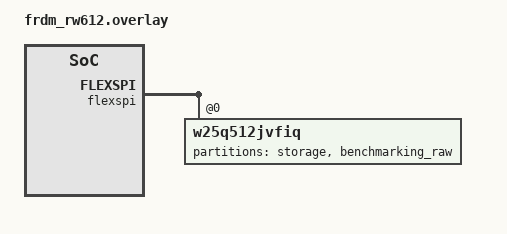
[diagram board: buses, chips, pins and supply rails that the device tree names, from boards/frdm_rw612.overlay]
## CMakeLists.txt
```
# Copyright (c) 2026 Qualcomm Technologies, Inc. and/or its subsidiaries
# SPDX-License-Identifier: BSD-3-Clause

cmake_minimum_required(VERSION 3.20.0)
find_package(Zephyr REQUIRED HINTS $ENV{ZEPHYR_BASE})
project(benchi)

if(CMAKE_C_COMPILER_ID STREQUAL "GNU")
    zephyr_compile_options(
        -Wno-implicit-function-declaration
        -Wno-stringop-truncation
    )
endif()

############################################
# extra modules
############################################

set(ZEPHYR_EXTRA_MODULES $ENV{ZEPHYR_BASE}/../iot_aleph/modules/googletest)


############################################
# cmake helper functions
############################################

macro(zephyr_object_library_named name)
    # This is a macro because we need add_library() to be executed
    # within the scope of the caller.
    set(ZEPHYR_CURRENT_LIBRARY ${name})
    add_library(${name} OBJECT "")
    zephyr_append_cmake_library(${name})
    target_link_libraries(${name} PUBLIC zephyr_interface)
endmacro()


############################################
# general include folder
############################################

zephyr_interface_library_named(${PROJECT_NAME}.include)
target_include_directories(${PROJECT_NAME}.include INTERFACE
        include
)
target_link_libraries(zephyr_interface INTERFACE ${PROJECT_NAME}.include)

############################################
# jsmn - minimal json
############################################

zephyr_interface_library_named(${PROJECT_NAME}.jsmn)
target_include_directories(${PROJECT_NAME}.jsmn INTERFACE
        include/jsmn
)

############################################
# threads
############################################
zephyr_library_named(${PROJECT_NAME}.threads)
target_sources(${PROJECT_NAME}.threads PRIVATE
        src/threads/bshg_threads.c
        src/threads/thread.app.c
        src/threads/thread.domain.c
        src/threads/thread.ll.c
)
target_include_directories(${PROJECT_NAME}.threads PUBLIC
        src/threads/
)
target_link_libraries(${PROJECT_NAME}.threads PUBLIC
    ${PROJECT_NAME}.messages
    ${PROJECT_NAME}.zbus
    ${PROJECT_NAME}.spi
    ${PROJECT_NAME}.jsmn
    ${PROJECT_NAME}.stress
    ${PROJECT_NAME}.tracing
)

############################################
# download
############################################
zephyr_library_named(${PROJECT_NAME}.download)
target_sources(${PROJECT_NAME}.download PRIVATE
        src/download/bshg_download.c
)
target_include_directories(${PROJECT_NAME}.download PUBLIC
        src/download
)
target_link_libraries(${PROJECT_NAME}.download PUBLIC
        ${PROJECT_NAME}.jsmn
        ${PROJECT_NAME}.flash
)

############################################
# zbus
############################################
zephyr_library_named(${PROJECT_NAME}.zbus.helper)
target_sources(${PROJECT_NAME}.zbus.helper PRIVATE
        src/zbus/helper/bshg_zbus_helper.c
)
target_include_directories(${PROJECT_NAME}.zbus.helper PUBLIC
        src/zbus/helper/
)

zephyr_library_named(${PROJECT_NAME}.zbus.trigger)
target_sources(${PROJECT_NAME}.zbus.trigger PRIVATE
        src/zbus/bshg_zbus_messages.c
)
target_include_directories(${PROJECT_NAME}.zbus.trigger PUBLIC
        src/zbus/trigger/
)
target_link_libraries(${PROJECT_NAME}.zbus.trigger PUBLIC
        ${PROJECT_NAME}.zbus.helper
        ${PROJECT_NAME}.tracing
)

add_library(${PROJECT_NAME}.zbus INTERFACE)
target_link_libraries(${PROJECT_NAME}.zbus INTERFACE
        ${PROJECT_NAME}.zbus.helper
        ${PROJECT_NAME}.zbus.trigger
)

############################################
# webserver
############################################
zephyr_library_named(${PROJECT_NAME}.webserver)
foreach(web_resource     index.html main.js)
    generate_inc_file_for_target(${PROJECT_NAME}.webserver
            src/webserver/static_web_resources/${web_resource}
            ${CMAKE_CURRENT_BINARY_DIR}/include/generated/${web_resource}.gz.inc
            --gzip
    )
endforeach()

foreach(inc_file server_cert.der server_privkey.der)
    generate_inc_file_for_target(
            ${PROJECT_NAME}.webserver
            src/webserver/certs/${inc_file}
            ${CMAKE_CURRENT_BINARY_DIR}/include/generated/${inc_file}.inc
    )
endforeach()

target_sources(${PROJECT_NAME}.webserver PRIVATE
    src/webserver/webserver.c
    src/webserver/ws.c
)
target_include_directories(${PROJECT_NAME}.webserver PUBLIC
    certs
    ${CMAKE_CURRENT_BINARY_DIR}/include/generated/
)
target_link_libraries(${PROJECT_NAME}.webserver PRIVATE
    zephyr_interface
    zephyr
    ${PROJECT_NAME}.zbus.helper
    ${PROJECT_NAME}.tracing
)

zephyr_linker_sources(SECTIONS sections-rom.ld)
zephyr_linker_section(
    NAME http_resource_desc_test_https_service
    KVMA RAM_REGION GROUP RODATA_REGION
    SUBALIGN ${CONFIG_LINKER_ITERABLE_SUBALIGN})
zephyr_linker_section(
    NAME http_resource_desc_test_http_service
    KVMA RAM_REGION GROUP RODATA_REGION
    SUBALIGN ${CONFIG_LINKER_ITERABLE_SUBALIGN})

############################################
# messages
############################################
zephyr_library_named(${PROJECT_NAME}.messages)
target_sources(${PROJECT_NAME}.messages PRIVATE
        src/messages/ll/download.c
        src/messages/ll/file.c
        src/messages/ll/led.c
        src/messages/ll/spi.c
        src/messages/ll/tracing.c
        src/messages/calculate_hashsum.c
        src/messages/ping.c
        src/messages/wait.c
        src/messages/zbus.c
)
target_link_libraries(${PROJECT_NAME}.messages PUBLIC
        ${PROJECT_NAME}.jsmn
        ${PROJECT_NAME}.zbus
        ${PROJECT_NAME}.spi
        ${PROJECT_NAME}.flash
        ${PROJECT_NAME}.tracing
        ${PROJECT_NAME}.download
        mbedTLS
)

############################################
# messages
############################################
zephyr_library_named(${PROJECT_NAME}.flash)
target_sources(${PROJECT_NAME}.flash PRIVATE
        src/flash/filesystem.c
        src/flash/rawflash.c
)
target_link_libraries(${PROJECT_NAME}.flash PUBLIC
        ${PROJECT_NAME}.jsmn
        ${PROJECT_NAME}.tracing
        ${PROJECT_NAME}.download
        LITTLEFS
)

############################################
# spi
############################################
zephyr_library_named(${PROJECT_NAME}.spi)
target_sources(${PROJECT_NAME}.spi PRIVATE
        src/spi/bshg_spi.c
)
target_include_directories(${PROJECT_NAME}.spi PUBLIC
        src/spi/
)
zephyr_library_add_dependencies(offsets_h)
############################################
# stress
############################################
zephyr_library_named(${PROJECT_NAME}.stress)
target_sources(${PROJECT_NAME}.stress PRIVATE
        src/stress/stress.c
)
target_include_directories(${PROJECT_NAME}.stress PUBLIC
        src/stress/
)
target_link_libraries(${PROJECT_NAME}.stress PUBLIC
        ${PROJECT_NAME}.tracing
)

############################################
# tracing
############################################
zephyr_library_named(${PROJECT_NAME}.tracing)
target_sources(${PROJECT_NAME}.tracing PRIVATE
        src/tracing/BSHG_tracing.c
)
target_include_directories(${PROJECT_NAME}.tracing PUBLIC
        src/tracing/
)

############################################
# test
############################################
if(CONFIG_ZTEST)
    zephyr_object_library_named(${PROJECT_NAME}.test)

    file(GLOB_RECURSE test_sources test/*.cpp)
    target_sources(${PROJECT_NAME}.test PRIVATE
        test/threads/thread_app.json.c
        test/threads/thread_domain.json.c
        test/threads/thread_ll.json.c
    )
    target_link_libraries(${PROJECT_NAME}.test PRIVATE
            ${PROJECT_NAME}.spi
            ${PROJECT_NAME}.threads
            ${PROJECT_NAME}.zbus
            ${PROJECT_NAME}.jsmn
    )
    target_link_libraries(app PRIVATE
            ${PROJECT_NAME}.test
    )
endif()
############################################
# app (main)
############################################
target_sources(app PRIVATE
    src/main.c
    src/shell/shell.c # TODO: why does it only work when directly added to app?
)

target_link_libraries(app PRIVATE
        ${PROJECT_NAME}.threads
        ${PROJECT_NAME}.webserver
        ${PROJECT_NAME}.zbus
        ${PROJECT_NAME}.stress
        ${PROJECT_NAME}.tracing
)

foreach(_lib
        ${PROJECT_NAME}.threads
        ${PROJECT_NAME}.download
        ${PROJECT_NAME}.zbus.helper
        ${PROJECT_NAME}.zbus.trigger
        ${PROJECT_NAME}.webserver
        ${PROJECT_NAME}.messages
        ${PROJECT_NAME}.flash
        ${PROJECT_NAME}.spi
        ${PROJECT_NAME}.stress
        ${PROJECT_NAME}.tracing)
    if(TARGET ${_lib})
        add_dependencies(${_lib} heap_constants offsets_h)
    endif()
endforeach()
```

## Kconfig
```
# Config options for logger sample app

# Copyright (c) 2018 Nordic Semiconductor ASA
# SPDX-License-Identifier: Apache-2.0

mainmenu "Shell module sample application"

menu "Application configuration"

config SHELL_FOREGROUND_CMDS
	bool "Shell foreground commands example"
	default y

config SHELL_DYNAMIC_CMDS
	bool "Shell dynamic commands example"
	default y

endmenu










# HTTP SAMPLE

config NET_SAMPLE_HTTP_SERVICE
	bool "Enable http service"
	default y

config NET_SAMPLE_HTTP_SERVER_SERVICE_PORT
	int "Port number for http service"
	default 80





# HTTPS SAMPLE

config NET_SOCKETS_SOCKOPT_TLS
	bool "Enable TLS"
	default y

config NET_SAMPLE_HTTPS_SERVICE
	bool "Enable https service"
	default y

config NET_SAMPLE_HTTPS_SERVER_SERVICE_PORT
	int "Port number for https service"
	default 443


# WEBSOCKET SAMPLE

config NET_SAMPLE_WEBSOCKET_SERVICE
	bool "Enable websocket sample"
	default y

config NET_SAMPLE_WEBSOCKET_STATS_INTERVAL
	int "Interval in milliseconds to send network stats over websocket"
	default 200

config NET_SAMPLE_NUM_WEBSOCKET_HANDLERS
	int "How many websocket connections to serve at the same time"
	default 1

config POLL
    bool "Enable polling"
    default y

config NET_STATISTICS_USER_API
    bool ""
    default y


# OTHERS

config CONFIG_USB_DEVICE_STACK
    bool "Enable USB stack"
    default n

config NET_SAMPLE_HTTPS_USE_ALPN
	bool "Allow HTTP2 connectivity with web browsers by using ALPN"
	default y

config NET_SAMPLE_PSK_HEADER_FILE
	string "Header file containing PSK"
	default "dummy_psk.h"

config IMG_BLOCK_BUF_SIZE
	int "Image Block Buffer Size"
	default 512

config BSHG_IFP_PARALLEL_FLASHING
	bool "Enable download and flashing in parallel"
	default y	

config TRACING_BUFFER_SIZE
        int "Size of tracing buffer"
        default 2048 if TRACING_ASYNC
        default TRACING_PACKET_MAX_SIZE if TRACING_SYNC
        range 32 131072








source "Kconfig.zephyr"
```

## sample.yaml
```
# Copyright (c) 2026 Qualcomm Technologies, Inc. and/or its subsidiaries
# SPDX-License-Identifier: BSD-3-Clause

tests:
  qcc7xx.sample.benchi:
    platform_allow:
      - qcc744m_evk
      - qcc748m_evk
    tags:
      - net
      - wifi
      - benchi
    timeout: 60
    harness: console
    harness_config:
      type: multi_line
      ordered: true
      regex:
        - "Booting Zephyr OS"
        - "LittleFS version"
        - "uart:~\\$"

  qcc7xx.sample.benchi.build:
    build_only: true
    platform_allow:
      - qcc75xm_evk
    tags:
      - net
      - wifi
      - benchi
```

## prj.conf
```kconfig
# general
CONFIG_EARLY_CONSOLE=y
CONFIG_INIT_STACKS=y
CONFIG_MAIN_STACK_SIZE=5200
CONFIG_POSIX_API=y
CONFIG_EVENTFD=y
CONFIG_ZVFS_FDTABLE=y
CONFIG_POSIX_TIMERS=y
CONFIG_PRINTK=y
CONFIG_THREAD_MONITOR=y
CONFIG_THREAD_STACK_INFO=y
CONFIG_COMPILER_COLOR_DIAGNOSTICS=y
CONFIG_NO_OPTIMIZATIONS=y

# CTF tracing
CONFIG_THREAD_NAME=y
CONFIG_TRACING=y
CONFIG_TRACING_CTF=y
CONFIG_TRACING_BACKEND_RAM=y
CONFIG_RAM_TRACING_BUFFER_SIZE=131072
CONFIG_TRACING_BUFFER_SIZE=131072

#Percepio tracing
# CONFIG_TRACING=y
# CONFIG_PERCEPIO_TRACERECORDER=y
# CONFIG_PERCEPIO_TRC_START_MODE_START=n
# CONFIG_PERCEPIO_TRC_CFG_STREAM_PORT_RINGBUFFER=y
# CONFIG_PERCEPIO_TRC_CFG_STREAM_PORT_RINGBUFFER_SIZE=100000

CONFIG_TRACING_CONDVAR=n
CONFIG_TRACING_EVENT=n
CONFIG_TRACING_FIFO=n
CONFIG_TRACING_HEAP=n
CONFIG_TRACING_ISR=n
CONFIG_TRACING_LIFO=n
CONFIG_TRACING_MAILBOX=n
CONFIG_TRACING_MEMORY_SLAB=n
CONFIG_TRACING_MESSAGE_QUEUE=n
CONFIG_TRACING_MUTEX=n
CONFIG_TRACING_NET_CORE=n
CONFIG_TRACING_NET_SOCKETS=n
CONFIG_TRACING_NETWORKING=n
CONFIG_TRACING_PIPE=n
CONFIG_TRACING_PM=n
CONFIG_TRACING_POLLING=n
CONFIG_TRACING_QUEUE=n
CONFIG_TRACING_SEMAPHORE=n
CONFIG_TRACING_STACK=n
CONFIG_TRACING_SYSCALL=n
CONFIG_TRACING_THREAD=n
CONFIG_TRACING_TIMER=n
CONFIG_TRACING_WORK=n


# filesystem
CONFIG_ZVFS_EVENTFD_MAX=16

# stats
CONFIG_STATS=y
CONFIG_STATS_SHELL=y
CONFIG_THREAD_RUNTIME_STATS=y
CONFIG_THREAD_RUNTIME_STATS_USE_TIMING_FUNCTIONS=y

# shell
CONFIG_SHELL=y
CONFIG_SHELL_STACK_SIZE=5200
CONFIG_DATE_SHELL=y
CONFIG_DEVICE_SHELL=y
CONFIG_KERNEL_SHELL=y
CONFIG_SHELL_BACKEND_SERIAL_RX_RING_BUFFER_SIZE=1000

# log
CONFIG_LOG=y
CONFIG_LOG_THREAD_ID_PREFIX=y
CONFIG_LOG_CMDS=y
CONFIG_LOG_MODE_DEFERRED=y
CONFIG_LOG_RUNTIME_FILTERING=y
#CONFIG_LOG_DEFAULT_LEVEL=3

# zbus
CONFIG_ZBUS=y
CONFIG_ZBUS_LOG_LEVEL_INF=y
CONFIG_ZBUS_CHANNEL_NAME=y
CONFIG_ZBUS_OBSERVER_NAME=y
CONFIG_ZBUS_RUNTIME_OBSERVERS=y

# wifi
CONFIG_NETWORKING=y
CONFIG_WIFI=y
CONFIG_WIFI_LOG_LEVEL_ERR=y
CONFIG_NET_TX_STACK_SIZE=2048
CONFIG_NET_RX_STACK_SIZE=2048
CONFIG_NET_PKT_RX_COUNT=10
CONFIG_NET_PKT_TX_COUNT=10
CONFIG_NET_BUF_RX_COUNT=20
CONFIG_NET_BUF_TX_COUNT=20
CONFIG_NET_MAX_CONTEXTS=10
CONFIG_NET_DHCPV4=y
CONFIG_DNS_RESOLVER=y
#CONFIG_DNS_RESOLVER_LOG_LEVEL_DBG=y
CONFIG_DNS_SERVER_IP_ADDRESSES=y
CONFIG_DNS_SERVER1="8.8.8.8"
CONFIG_NET_IPV4=y
CONFIG_NET_IPV6=n
CONFIG_NET_TCP=y
CONFIG_NET_LOG=y
CONFIG_NET_MAX_CONN=50
CONFIG_INIT_STACKS=y
CONFIG_NET_SHELL=y
CONFIG_NET_STATISTICS=y
CONFIG_NET_STATISTICS_PERIODIC_OUTPUT=n
CONFIG_NET_L2_WIFI_SHELL=y
CONFIG_NET_MGMT_EVENT_QUEUE_TIMEOUT=5000
CONFIG_NET_MGMT_EVENT_QUEUE_SIZE=16
CONFIG_NET_CONTEXT_NET_PKT_POOL=y
CONFIG_NET_TCP_TIME_WAIT_DELAY=0

# TLS configuration
CONFIG_MBEDTLS=y
CONFIG_MBEDTLS_BUILTIN=y
CONFIG_MBEDTLS_ENABLE_HEAP=y
CONFIG_MBEDTLS_HEAP_SIZE=60000
CONFIG_MBEDTLS_SSL_MAX_CONTENT_LEN=2048
CONFIG_NET_SOCKETS_SOCKOPT_TLS=y
CONFIG_NET_SOCKETS_TLS_MAX_CONTEXTS=6
CONFIG_TLS_CREDENTIALS=y
CONFIG_TLS_MAX_CREDENTIALS_NUMBER=5

#CONFIG_MBEDTLS_DEBUG=y
#CONFIG_MBEDTLS_LOG_LEVEL_DBG=y
# Automatic Kconfig selection for NET_SOCKETS_SOCKOPT_TLS was removed in
# Zephyr 4.4 (see doc/releases/migration-guide-4.4.rst, Networking section)
# -- the desired TLS protocol version + ciphersuite must now be selected
# explicitly via a MBEDTLS_CIPHERSUITE_TLS_* helper, which pulls in
# MBEDTLS_SSL_PROTO_TLS1_2, MBEDTLS_KEY_EXCHANGE_ECDHE_ECDSA_ENABLED, and
# the matching PSA_WANT_* symbols this sample previously set by hand
# (CONFIG_MBEDTLS_MD5/ECDH_C/ECDSA_C/ECP_C/ECP_DP_SECP256R1_ENABLED/
# KEY_EXCHANGE_RSA_ENABLED/CIPHER_CCM_ENABLED/CIPHER_GCM_ENABLED, all
# removed/renamed upstream).
CONFIG_MBEDTLS_CIPHERSUITE_TLS_ECDHE_ECDSA_WITH_AES_128_GCM_SHA256=y
CONFIG_MBEDTLS_CIPHERSUITE_TLS_ECDHE_ECDSA_WITH_AES_128_CCM_8=y
CONFIG_MBEDTLS_KEY_EXCHANGE_PSK_ENABLED=y
CONFIG_NET_SOCKETS_OFFLOAD=n
CONFIG_NET_SAMPLE_PSK_HEADER_FILE="bshg_dummy_psk.h"

# filesystem
CONFIG_FLASH=y
CONFIG_FLASH_MAP=y
CONFIG_FILE_SYSTEM=y
CONFIG_FILE_SYSTEM_LITTLEFS=y
CONFIG_POSIX_FILE_SYSTEM=y
CONFIG_IMG_BLOCK_BUF_SIZE=256
CONFIG_STREAM_FLASH=y
CONFIG_MCUBOOT_BOOTUTIL_LIB=y
CONFIG_IMG_MANAGER=y
CONFIG_IMG_ERASE_PROGRESSIVELY=y
CONFIG_HEAP_MEM_POOL_SIZE=16384

# PSRAM — routes BSS/heap to 4MB PSRAM (internal SRAM is only 319KB)
CONFIG_PSRAM=y

# PSA_WANT_ALG_MD5 — calculate_hashsum.c calls mbedtls_md5() directly
CONFIG_PSA_WANT_ALG_MD5=y

# execute in place
CONFIG_XIP=y

# Enable networking
CONFIG_NET_HOSTNAME="bsh-benchi"

# Enable HTTP server
CONFIG_HTTP_SERVER=y
CONFIG_HTTP_SERVER_WEBSOCKET=y
CONFIG_HTTP_PARSER_URL=y
CONFIG_HTTP_PARSER=y
CONFIG_HTTP_SERVER_STACK_SIZE=8192

CONFIG_JSON_LIBRARY=y

CONFIG_GPIO=y
CONFIG_LED=y
CONFIG_POLL=y

CONFIG_SPI=y
CONFIG_COUNTER=y

CONFIG_BSHG_IFP_PARALLEL_FLASHING=n
```

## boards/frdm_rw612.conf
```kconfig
CONFIG_WIFI_NXP=y
CONFIG_NXP_RW610=y
CONFIG_NXP_WIFI_SHELL=y

#
# C Library
CONFIG_REQUIRES_FULL_LIBC=y
CONFIG_CBPRINTF_FP_SUPPORT=y

# log
CONFIG_WIFI_LOG_LEVEL_DBG=y
CONFIG_THREAD_LOCAL_STORAGE=y
CONFIG_ASSERT=y
CONFIG_ASSERT_LEVEL=2
CONFIG_LOG_MODE_IMMEDIATE=y
CONFIG_LOG_PRINTK=n

# os
CONFIG_THREAD_CUSTOM_DATA=y
CONFIG_EVENTS=y
CONFIG_SYS_HEAP_AUTO=y
CONFIG_SCHED_MULTIQ=y
CONFIG_ZVFS_OPEN_MAX=30

# shell
CONFIG_SHELL_ARGC_MAX=48
CONFIG_WIFI_SHELL_MAX_AP_STA=8
CONFIG_WIFI_MGMT_AP_MAX_NUM_STA=8
CONFIG_SHELL_CMD_BUFF_SIZE=512

# net
CONFIG_NET_L2_ETHERNET=y
CONFIG_NET_DHCPV4_SERVER_ADDR_COUNT=32
CONFIG_NET_IPV4=y
CONFIG_NET_IPV6=y
CONFIG_NET_ZPERF=y
CONFIG_NET_ZPERF_MAX_PACKET_SIZE=1500
CONFIG_NET_BUF_LOG=y
CONFIG_NET_PKT_RX_COUNT=36
CONFIG_NET_PKT_TX_COUNT=36
CONFIG_NET_BUF_RX_COUNT=40
CONFIG_NET_BUF_TX_COUNT=40
CONFIG_NET_BUF_DATA_SIZE=1744
CONFIG_NET_TCP_MAX_SEND_WINDOW_SIZE=46720
CONFIG_NET_TCP_MAX_RECV_WINDOW_SIZE=46720
CONFIG_NET_TC_TX_COUNT=1
CONFIG_NET_TC_RX_COUNT=1
CONFIG_NET_MGMT_EVENT_QUEUE_SIZE=20
CONFIG_NET_IF_MAX_IPV4_COUNT=2
CONFIG_NET_IF_MAX_IPV6_COUNT=2
CONFIG_DNS_RESOLVER=y
CONFIG_DNS_RESOLVER_MAX_SERVERS=2
CONFIG_NET_SOCKETS_POLL_MAX=14
CONFIG_NET_ZPERF_MAX_SESSIONS=6
CONFIG_NET_IPV4_FRAGMENT=y
CONFIG_NET_IPV4_FRAGMENT_MAX_COUNT=3
CONFIG_NET_IPV4_FRAGMENT_MAX_PKT=7
CONFIG_NET_IPV4_FRAGMENT_TIMEOUT=3
CONFIG_NET_IPV6_FRAGMENT=y
CONFIG_NET_IPV6_FRAGMENT_MAX_COUNT=3
CONFIG_NET_IPV6_FRAGMENT_MAX_PKT=8
CONFIG_NET_IPV6_FRAGMENT_TIMEOUT=3
CONFIG_NET_MAX_CONN=50
CONFIG_NET_DHCPV4_SERVER_ICMP_PROBE_TIMEOUT=100
CONFIG_ETH_DRIVER=n

# net threads priority
CONFIG_NET_TC_THREAD_PRIO_CUSTOM=y
CONFIG_NET_TC_THREAD_PREEMPTIVE=y
CONFIG_NET_TCP_WORKER_PRIO=-16
CONFIG_NET_TC_TX_THREAD_BASE_PRIO=3
CONFIG_NET_TC_RX_THREAD_BASE_PRIO=3
CONFIG_ZPERF_WORK_Q_THREAD_PRIORITY=3
CONFIG_NET_SOCKETS_SERVICE_THREAD_PRIO=3
CONFIG_NET_CONTEXT_PRIORITY=y
CONFIG_NET_MGMT_THREAD_PRIO_CUSTOM=y
CONFIG_NET_MGMT_THREAD_PRIORITY=3

# power management
CONFIG_PM=y
CONFIG_PM_DEVICE=y
CONFIG_PM_LOG_LEVEL_OFF=y
CONFIG_PM_DEVICE_LOG_LEVEL_OFF=y
CONFIG_IDLE_STACK_SIZE=1024

# stack size
CONFIG_SHELL_STACK_SIZE=6144
CONFIG_SYSTEM_WORKQUEUE_STACK_SIZE=2048
CONFIG_NET_MGMT_EVENT_STACK_SIZE=4608
CONFIG_NET_TCP_WORKQ_STACK_SIZE=2048
CONFIG_MAIN_STACK_SIZE=4096
CONFIG_NET_SOCKETS_SERVICE_STACK_SIZE=4096

# optimization level
# refer to Kconfig.zephyr for Optimizations Level
#CONFIG_SPEED_OPTIMIZATIONS=y
#CONFIG_SIZE_OPTIMIZATIONS=y
CONFIG_DEBUG_OPTIMIZATIONS=y
#CONFIG_NO_OPTIMIZATIONS=y

# debug & stats
CONFIG_SYS_HEAP_VALIDATE=y
CONFIG_SYS_HEAP_RUNTIME_STATS=y
#CONFIG_NET_PKT_TXTIME_STATS=y
#CONFIG_NET_PKT_TXTIME_STATS_DETAIL=y
CONFIG_NET_STATISTICS_WIFI=y
CONFIG_NET_STATISTICS_USER_API=y
#CONFIG_NET_STATISTICS_PERIODIC_OUTPUT=y
#CONFIG_NET_BUF_POOL_USAGE=y
#CONFIG_NET_DEBUG_NET_PKT_ALLOC=y

# stack size for -O0
#CONFIG_SHELL_STACK_SIZE=8192
#CONFIG_NET_TCP_WORKQ_STACK_SIZE=4096
#CONFIG_NET_TX_STACK_SIZE=4096
#CONFIG_NET_RX_STACK_SIZE=4096
#CONFIG_SYSTEM_WORKQUEUE_STACK_SIZE=4096
#CONFIG_ZPERF_WORK_Q_STACK_SIZE=4096
#CONFIG_MAIN_STACK_SIZE=4096
#CONFIG_IDLE_STACK_SIZE=2048

# comment out for -O0
CONFIG_CODE_DATA_RELOCATION_SRAM=y
```

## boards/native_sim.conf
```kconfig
CONFIG_EMUL=y

# emulate spi
CONFIG_SPI_EMUL=y
#CONFIG_SPI_LOOPBACK=y
#CONFIG_SPI_0=y

# emulate timer / counter
CONFIG_NATIVE_SIM_TIMER=y

CONFIG_FLASH_SIMULATOR_DOUBLE_WRITES=y
```

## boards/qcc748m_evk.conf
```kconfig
CONFIG_MAIN_STACK_SIZE=8192
CONFIG_SHELL_STACK_SIZE=8192
CONFIG_SHELL_BACKEND_SERIAL_RX_RING_BUFFER_SIZE=8192

CONFIG_NET_TX_STACK_SIZE=8192
CONFIG_NET_RX_STACK_SIZE=8192
CONFIG_NET_PKT_RX_COUNT=44
CONFIG_NET_PKT_TX_COUNT=44
CONFIG_NET_BUF_RX_COUNT=46
CONFIG_NET_BUF_TX_COUNT=46
CONFIG_NET_BUF_DATA_SIZE=1600
CONFIG_NET_TCP_MAX_RECV_WINDOW_SIZE=64240
CONFIG_NET_TCP_MAX_SEND_WINDOW_SIZE=64240
CONFIG_NET_TC_RX_COUNT=0

CONFIG_NET_CONNECTION_MANAGER_MONITOR_STACK_SIZE=2048
CONFIG_MBEDTLS_ENTROPY_C=y
CONFIG_HTTP_SERVER_CLIENT_BUFFER_SIZE=2048

# ==================== Memory & Heap ====================
# Heap memory pool size
CONFIG_HEAP_MEM_POOL_SIZE=8192
# Sys heap runtime stats
CONFIG_SYS_HEAP_RUNTIME_STATS=y
# Shared multi-heap support
CONFIG_SHARED_MULTI_HEAP=y
# mbedTLS heap allocation
CONFIG_MBEDTLS_ENABLE_HEAP=y
# ==================== Threads & Workqueue ====================

# System workqueue stack size
CONFIG_SYSTEM_WORKQUEUE_STACK_SIZE=6144
# Dynamic threads support
CONFIG_DYNAMIC_THREAD=y
CONFIG_DYNAMIC_THREAD_ALLOC=y
CONFIG_DYNAMIC_THREAD_PREFER_POOL=y
# Runtime statistics
CONFIG_THREAD_RUNTIME_STATS=y
CONFIG_THREAD_RUNTIME_STATS_USE_TIMING_FUNCTIONS=y
# Thread info & monitoring
CONFIG_THREAD_STACK_INFO=y
CONFIG_THREAD_MONITOR=y
CONFIG_THREAD_NAME=y
CONFIG_THREAD_CUSTOM_DATA=y
# Initialize all thread stacks
CONFIG_INIT_STACKS=y
# ==================== WiFi Configuration ====================
# QCC74X WiFi driver
CONFIG_WIFI_QCC74X=y
# AP & STA mode support (real Kconfig prefix is QC7XX_WIFI_*, not
# QCC74X_WIFI_* -- pre-existing typo, unrelated to the v4.4 upgrade,
# only surfaced once the mbedtls Kconfig-warning aborts below were fixed)
CONFIG_QC7XX_WIFI_AP_STA_MODE=y
# STA mode auto DHCPv4
CONFIG_QC7XX_WIFI_STA_AUTO_DHCPV4=y
# WiFi network manager
CONFIG_WIFI_NM=y
# Max managed interfaces
CONFIG_WIFI_NM_MAX_MANAGED_INTERFACES=4
# Shell max AP/STA interfaces
CONFIG_WIFI_SHELL_MAX_AP_STA=4
# ==================== Network Buffers & Interfaces ====================
# Number of RX packets
#CONFIG_NET_PKT_RX_COUNT=16
# Number of TX packets
#CONFIG_NET_PKT_TX_COUNT=16
# Network buffer pool size (RX)
#CONFIG_NET_BUF_RX_COUNT=36
# Network buffer pool size (TX)
#CONFIG_NET_BUF_TX_COUNT=36
# Max IPv4 addresses per interface
CONFIG_NET_IF_MAX_IPV4_COUNT=2
# Max IPv6 addresses per interface
CONFIG_NET_IF_MAX_IPV6_COUNT=2
# Enable Ethernet L2
CONFIG_NET_L2_ETHERNET=y
CONFIG_NET_ZPERF=y
#CONFIG_NET_BUF_FIXED_DATA_SIZE=n

# ==================== Network Management ====================
# Net management event queue size
CONFIG_NET_MGMT_EVENT_QUEUE_SIZE=10
# Net management event handler stack size
CONFIG_NET_MGMT_EVENT_STACK_SIZE=8192
# Enable network connection manager
CONFIG_NET_CONNECTION_MANAGER=y
# ==================== IPv4 & DHCPv4 ====================
# Number of DHCPv4 server addresses
CONFIG_NET_DHCPV4_SERVER_ADDR_COUNT=4
# ICMP probe timeout for DHCPv4 (ms)
CONFIG_NET_DHCPV4_SERVER_ICMP_PROBE_TIMEOUT=1000
# Enable DHCPv4 server
CONFIG_NET_DHCPV4_SERVER=y
# Enable DHCPv4 DNS address option
CONFIG_NET_DHCPV4_OPTION_DNS_ADDRESS=y
# DHCPv4 server log level: debug
CONFIG_NET_DHCPV4_SERVER_LOG_LEVEL_DBG=y
CONFIG_DNS_RESOLVER_MAX_SERVERS=4
#CONFIG_NET_SOCKETS_ENABLE_DTLS=y
# DNS query timeout (ms)
#CONFIG_NET_SOCKETS_DNS_TIMEOUT=2000
# DNS backoff interval (ms)
#CONFIG_NET_SOCKETS_DNS_BACKOFF_INTERVAL=5000
# Enable Sockets service
#CONFIG_NET_SOCKETS_SERVICE=y
# Service thread priority
#CONFIG_NET_SOCKETS_SERVICE_THREAD_PRIO=15
# Service thread stack size
#CONFIG_NET_SOCKETS_SERVICE_STACK_SIZE=4096
#CONFIG_MBEDTLS_DTLS=y
CONFIG_ZVFS_POLL_MAX=15
#CONFIG_NET_BUF_DATA_SIZE=64
# CONFIG_MBEDTLS_ECP_C/_ECP_DP_SECP256R1_ENABLED/_PEM_CERTIFICATE_FORMAT
# were removed in Zephyr 4.4 -- superseded by the
# MBEDTLS_CIPHERSUITE_TLS_ECDHE_ECDSA_WITH_AES_128_GCM_SHA256 helper now
# set in prj.conf, which selects the equivalent PSA_WANT_ECC_SECP_R1_256
# path. CONFIG_MBEDTLS_ECP_NIST_OPTIM has no removal notice but has no
# effect without CONFIG_MBEDTLS_ECP_C, so dropped alongside it.
CONFIG_SPEED_OPTIMIZATIONS=y
CONFIG_DNS_RESOLVER_AUTO_INIT=n
# qcc74x_zephyr_hal's wifi_drv_lower.c reads struct net_buf_pool's
# avail_count/max_used/name fields, which are compiled out unless this
# is set (already set for the same reason in the sibling
# boards/qcc75xm_evk.conf).
CONFIG_NET_BUF_POOL_USAGE=y
# qcc74x_zephyr_hal's crypto_mbedtls.c calls mbedtls_ctr_drbg_* directly
# and unconditionally; only compiled in under MBEDTLS_CTR_DRBG_C.
CONFIG_MBEDTLS_CTR_DRBG_C=y

# Custom linker: routes heap to PSRAM so WiFi/mbedTLS/tracing large
# allocations don't overflow the 319KB internal SRAM.
# Stacks and BSS remain in internal SRAM for performance.
CONFIG_PSRAM_LENGTH=0x400000
CONFIG_HAVE_CUSTOM_LINKER_SCRIPT=y
CONFIG_CUSTOM_LINKER_SCRIPT="linker/qcc748_common.ld"
```

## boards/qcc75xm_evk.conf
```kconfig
CONFIG_MAIN_STACK_SIZE=8192
CONFIG_SHELL_STACK_SIZE=8192
CONFIG_SHELL_BACKEND_SERIAL_RX_RING_BUFFER_SIZE=8192

CONFIG_NET_TX_STACK_SIZE=8192
CONFIG_NET_RX_STACK_SIZE=8192

CONFIG_NET_PKT_RX_COUNT=140
CONFIG_NET_PKT_TX_COUNT=140
CONFIG_NET_BUF_RX_COUNT=140
CONFIG_NET_BUF_TX_COUNT=140
CONFIG_NET_BUF_DATA_SIZE=1600

CONFIG_NET_TCP_MAX_RECV_WINDOW_SIZE=65535
CONFIG_NET_TCP_MAX_SEND_WINDOW_SIZE=65535
CONFIG_NET_TC_RX_COUNT=1

CONFIG_NET_CONNECTION_MANAGER_MONITOR_STACK_SIZE=2048
CONFIG_MBEDTLS_ENTROPY_C=y
CONFIG_HTTP_SERVER_CLIENT_BUFFER_SIZE=2048

# ==================== Memory & Heap ====================
# Heap memory pool size
# CONFIG_HEAP_MEM_POOL_SIZE=8192
# Sys heap runtime stats
CONFIG_SYS_HEAP_RUNTIME_STATS=y
# Shared multi-heap support
CONFIG_SHARED_MULTI_HEAP=y
# mbedTLS heap allocation
CONFIG_MBEDTLS_ENABLE_HEAP=y
# ==================== Threads & Workqueue ====================

# System workqueue stack size
CONFIG_SYSTEM_WORKQUEUE_STACK_SIZE=6144
# Dynamic threads support
CONFIG_DYNAMIC_THREAD=y
CONFIG_DYNAMIC_THREAD_ALLOC=y
CONFIG_DYNAMIC_THREAD_PREFER_POOL=y
# Runtime statistics
CONFIG_THREAD_RUNTIME_STATS=y
CONFIG_THREAD_RUNTIME_STATS_USE_TIMING_FUNCTIONS=y
# Thread info & monitoring
CONFIG_THREAD_STACK_INFO=y
CONFIG_THREAD_MONITOR=y
CONFIG_THREAD_NAME=y
CONFIG_THREAD_CUSTOM_DATA=y
# Initialize all thread stacks
CONFIG_INIT_STACKS=y
# ==================== WiFi Configuration ====================
# QCC74X WiFi driver
CONFIG_WIFI_QCC74X=y
# AP & STA mode support
CONFIG_QCC74X_WIFI_AP_STA_MODE=y
# STA mode auto DHCPv4
CONFIG_QCC74X_WIFI_STA_AUTO_DHCPV4=y
# WiFi network manager
CONFIG_WIFI_NM=y
# Max managed interfaces
CONFIG_WIFI_NM_MAX_MANAGED_INTERFACES=4
# Shell max AP/STA interfaces
CONFIG_WIFI_SHELL_MAX_AP_STA=4
# ==================== Network Buffers & Interfaces ====================
# Number of RX packets
#CONFIG_NET_PKT_RX_COUNT=16
# Number of TX packets
#CONFIG_NET_PKT_TX_COUNT=16
# Network buffer pool size (RX)
#CONFIG_NET_BUF_RX_COUNT=36
# Network buffer pool size (TX)
#CONFIG_NET_BUF_TX_COUNT=36
# Max IPv4 addresses per interface
CONFIG_NET_IF_MAX_IPV4_COUNT=2
# Max IPv6 addresses per interface
#CONFIG_NET_IF_MAX_IPV6_COUNT=2
# Enable Ethernet L2
CONFIG_NET_L2_ETHERNET=y
CONFIG_NET_ZPERF=y
#CONFIG_NET_BUF_FIXED_DATA_SIZE=n

# ==================== Network Management ====================
# Net management event queue size
CONFIG_NET_MGMT_EVENT_QUEUE_SIZE=10
# Net management event handler stack size
CONFIG_NET_MGMT_EVENT_STACK_SIZE=8192
# Enable network connection manager
CONFIG_NET_CONNECTION_MANAGER=y
# ==================== IPv4 & DHCPv4 ====================
# Number of DHCPv4 server addresses
CONFIG_NET_DHCPV4_SERVER_ADDR_COUNT=4
# ICMP probe timeout for DHCPv4 (ms)
CONFIG_NET_DHCPV4_SERVER_ICMP_PROBE_TIMEOUT=1000
# Enable DHCPv4 server
CONFIG_NET_DHCPV4_SERVER=y
# Enable DHCPv4 DNS address option
CONFIG_NET_DHCPV4_OPTION_DNS_ADDRESS=y
# DHCPv4 server log level: debug
CONFIG_NET_DHCPV4_SERVER_LOG_LEVEL_DBG=y
CONFIG_DNS_RESOLVER_MAX_SERVERS=4
#CONFIG_NET_SOCKETS_ENABLE_DTLS=y
# DNS query timeout (ms)
#CONFIG_NET_SOCKETS_DNS_TIMEOUT=2000
# DNS backoff interval (ms)
#CONFIG_NET_SOCKETS_DNS_BACKOFF_INTERVAL=5000
# Enable Sockets service
#CONFIG_NET_SOCKETS_SERVICE=y
# Service thread priority
#CONFIG_NET_SOCKETS_SERVICE_THREAD_PRIO=15
# Service thread stack size
#CONFIG_NET_SOCKETS_SERVICE_STACK_SIZE=4096
#CONFIG_MBEDTLS_DTLS=y
CONFIG_ZVFS_POLL_MAX=15
#CONFIG_NET_BUF_DATA_SIZE=64
CONFIG_MBEDTLS_ECP_C=y
CONFIG_MBEDTLS_ECP_DP_SECP256R1_ENABLED=y
CONFIG_MBEDTLS_ECP_NIST_OPTIM=y
CONFIG_MBEDTLS_PEM_CERTIFICATE_FORMAT=y
CONFIG_SPEED_OPTIMIZATIONS=y
CONFIG_DNS_RESOLVER_AUTO_INIT=n

CONFIG_LOG=y
CONFIG_LOG_DEFAULT_LEVEL=3
CONFIG_LOG_MAX_LEVEL=3
CONFIG_LOG_OVERRIDE_LEVEL=3

CONFIG_NET_PKT_LOG_LEVEL_INF=y
CONFIG_NET_BUF_LOG_LEVEL_INF=y

CONFIG_LOG_MODE_DEFERRED=y
CONFIG_LOG_RUNTIME_FILTERING=y

CONFIG_LOG_PROCESS_THREAD=y
CONFIG_LOG_BUFFER_SIZE=8192
CONFIG_LOG_PRINTK=y
CONFIG_MAIN_STACK_SIZE=8192
CONFIG_SYSTEM_WORKQUEUE_STACK_SIZE=8192
CONFIG_IDLE_STACK_SIZE=2048
CONFIG_THREAD_STACK_INFO=y
CONFIG_INIT_STACKS=y
CONFIG_NET_TCP_WORKQ_STACK_SIZE=2048
CONFIG_ZPERF_WORK_Q_STACK_SIZE=4096
CONFIG_NET_ZPERF_MAX_PACKET_SIZE=1500
CONFIG_NET_BUF_POOL_USAGE=y
CONFIG_NET_BUF_LOG=y
CONFIG_HEAP_MEM_POOL_SIZE=32768

# Optionaly switch to y when printf and shell_print are inconsistent:
CONFIG_LOG_MODE_IMMEDIATE=n
```

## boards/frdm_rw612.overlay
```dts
/delete-node/ &storage_partition;

&flexspi {
	w25q512jvfiq: w25q512jvfiq@0 {
		partitions {
			storage_partition: partition@623000 {
				label = "storage";
				reg = <0x00623000 (DT_SIZE_M(18) - DT_SIZE_K(136))>;
			};
			benchmarking_raw: partition@1807400 {
				label = "benchmarking_raw";
				reg = <0x01808000 DT_SIZE_M(19)>;
			};
		};
	};
};
```

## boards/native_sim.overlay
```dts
&spi0 {
    compatible = "zephyr,spi-emul-controller";
    status = "okay";

};

/delete-node/ &storage_partition;

&flash0 {
	reg = <0x00000000 DT_SIZE_M(20)>;

	partitions {
		storage_partition: partition@fc000 {
		label = "storage";
		reg = <0x000fc000 DT_SIZE_M(4)>;
	};

		benchmarking_raw: partition@4fc000 {
			label = "benchmarking_raw";
			reg = <0x004fc000 DT_SIZE_M(4)>;
		};
	};
};
```

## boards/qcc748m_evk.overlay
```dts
/delete-node/ &storage_partition;
/delete-node/ &scratch_partition;
/delete-node/ &coredump_partition;
&flash0 {
	partitions {
		compatible = "fixed-partitions";
		#address-cells = <1>;
		#size-cells = <1>;

		storage_partition: partition@3C0000 {
			label = "storage";
			reg = <0x3C0000 DT_SIZE_M(2)>;
		};

		scratch_partition: partition@5C0000 {
				label = "image-scratch";
				reg = <0x5C0000 DT_SIZE_K(64)>;
		};

		coredump_partition: partition@5D0000 {
			label = "coredump-partition";
			reg = <0x5D0000 DT_SIZE_K(4)>;
		};

		benchmarking_raw: partition@5D1000 {
			label = "benchmarking_raw";
			reg = <0x5D1000 DT_SIZE_M(2)>;
		};
	};
};

&pinctrl {
	status = "okay";
	spi0_default: spi0_default {
		group1 {
			pinmux = <GPIO13_SPI_SCLK>,
				<GPIO10_SPI_MISO>,
				<GPIO11_SPI_MOSI>,
				<GPIO12_SPI_SS>;
			bias-pull-up;
			drive-strength = <1>;
			input-schmitt-enable;
		};
	};
};

&spi0 {
	status = "okay";
	pinctrl-0 = <&spi0_default>;
	pinctrl-names = "default";
};

&timer0 {
	status = "okay";
	clock-div = <79>;
	counter-mode = <1>;
	preload-id = <0>;
	comp0-val = <1000000>;
	comp1-val = <10000000>;
	comp2-val = <0xFFFFFFFF>;
	preload-val = <0>;

};

&trng0 {
	status = "okay";
};
```

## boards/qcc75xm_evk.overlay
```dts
/*
 * Copyright (c) 2026 Qualcomm Technologies, Inc. and/or its subsidiaries
 *
 * SPDX-License-Identifier: BSD-3-Clause
 */

/ {
	chosen {
		zephyr,sram = &psram;
	};
};

&psram {
	status = "okay";
};

/delete-node/ &storage_partition;
/delete-node/ &scratch_partition;
/delete-node/ &coredump_partition;
&flash0 {
	partitions {
		compatible = "fixed-partitions";
		#address-cells = <1>;
		#size-cells = <1>;

		storage_partition: partition@3C0000 {
			label = "storage";
			reg = <0x3C0000 DT_SIZE_M(2)>;
		};

		scratch_partition: partition@5C0000 {
				label = "image-scratch";
				reg = <0x5C0000 DT_SIZE_K(64)>;
		};

		coredump_partition: partition@5D0000 {
			label = "coredump-partition";
			reg = <0x5D0000 DT_SIZE_K(4)>;
		};

		benchmarking_raw: partition@5D1000 {
			label = "benchmarking_raw";
			reg = <0x5D1000 DT_SIZE_M(2)>;
		};
	};
};

&pinctrl {
	status = "okay";
	spi0_default: spi0_default {
		group1 {
			pinmux = <GPIO17_SPI0_SCLK>,
				<GPIO18_SPI0_MISO>,
				<GPIO19_SPI0_MOSI>,
				<GPIO8_SPI0_SS>;
			bias-pull-up;
			drive-strength = <1>;
			input-schmitt-enable;
			input-enable;
		};
	};
};

&spi0 {
	status = "okay";
	pinctrl-0 = <&spi0_default>;
	pinctrl-names = "default";
};

&timer0 {
	status = "okay";
};

&trng0 {
	status = "okay";
};
```

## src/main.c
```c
/*
 * Copyright (c) 2015 Intel Corporation
 *
 * SPDX-License-Identifier: Apache-2.0
 */

#include <bshg/filesystem.h>

#include <zephyr/logging/log.h>
#include <BSHG_tracing.h>

LOG_MODULE_REGISTER(app);

extern void create_threads(void);
extern void webserver_main(void);

#ifndef CONFIG_ZTEST
int main(void)
{
	mount_littlefs();
	create_threads();
	webserver_main();
	BSHG_initTracing();
	return 0;
}
#endif
```
